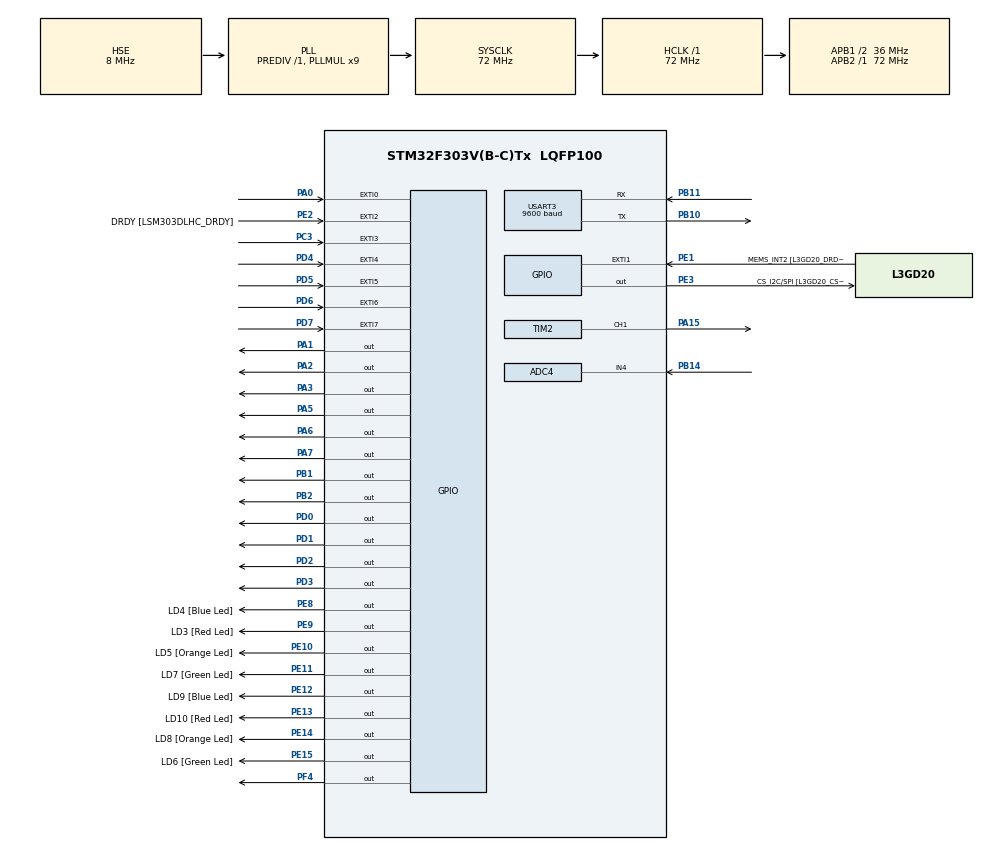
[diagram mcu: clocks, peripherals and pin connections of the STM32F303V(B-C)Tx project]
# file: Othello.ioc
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ADC4.Channel-0\#ChannelRegularConversion=ADC_CHANNEL_4
ADC4.NbrOfConversionFlag=1
ADC4.Offset-0\#ChannelRegularConversion=0
ADC4.OffsetNumber-0\#ChannelRegularConversion=ADC_OFFSET_NONE
ADC4.Rank-0\#ChannelRegularConversion=1
ADC4.SamplingTime-0\#ChannelRegularConversion=ADC_SAMPLETIME_601CYCLES_5
Mcu.Family=STM32F3
Mcu.Name=STM32F303V(B-C)Tx
Mcu.Package=LQFP100
NVIC.ADC4_IRQn=true\:2\:0\:true\:false\:true\:true\:true
NVIC.EXTI0_IRQn=true\:1\:0\:true\:false\:true\:true\:true
NVIC.EXTI3_IRQn=true\:2\:0\:true\:false\:true\:true\:true
NVIC.EXTI4_IRQn=true\:1\:0\:true\:false\:true\:true\:true
NVIC.EXTI9_5_IRQn=true\:2\:0\:true\:false\:true\:true\:true
NVIC.PriorityGroup=NVIC_PRIORITYGROUP_3
NVIC.TIM2_IRQn=true\:1\:0\:true\:false\:true\:true\:true
NVIC.TIM3_IRQn=true\:1\:0\:true\:false\:true\:true\:true
NVIC.TIM4_IRQn=true\:4\:0\:true\:false\:true\:true\:true
NVIC.TIM7_IRQn=true\:3\:0\:true\:false\:true\:true\:true
NVIC.USART3_IRQn=true\:2\:0\:true\:false\:true\:true\:true
PA0.GPIO_ModeDefaultEXTI=GPIO_MODE_IT_RISING_FALLING
PA0.GPIO_PuPd=GPIO_PULLDOWN
PA0.Signal=GPXTI0
PA1.Signal=GPIO_Output
PA11.GPIO_Label=DM
PA11.Signal=USB_DM
PA12.GPIO_Label=DP
PA12.Signal=USB_DP
PA13.GPIO_Label=SWDIO
PA13.Mode=Serial_Wire
PA13.Signal=SYS_JTMS-SWDIO
PA14.GPIO_Label=SWCLK
PA14.Mode=Serial_Wire
PA14.Signal=SYS_JTCK-SWCLK
PA15.Signal=S_TIM2_CH1_ETR
PA2.Signal=GPIO_Output
PA3.Signal=GPIO_Output
PA5.Signal=GPIO_Output
PA6.Signal=GPIO_Output
PA7.Signal=GPIO_Output
PB1.Signal=GPIO_Output
PB10.Mode=Asynchronous
PB10.Signal=USART3_TX
PB11.Mode=Asynchronous
PB11.Signal=USART3_RX
PB14.Mode=IN4-Single-Ended
PB14.Signal=ADC4_IN4
PB2.Signal=GPIO_Output
PB3.GPIO_Label=SWO
PB3.Signal=SYS_JTDO-TRACESWO
PB6.GPIO_Label=I2C1_SCL [LSM303DLHC_SCL]
PB6.GPIO_Pu=GPIO_PULLUP
PB6.Signal=I2C1_SCL
PB7.GPIO_Label=I2C1_SDA [LSM303DLHC_SDA]
PB7.GPIO_Pu=GPIO_PULLUP
PB7.Signal=I2C1_SDA
PC14-OSC32_IN.GPIO_Label=OSC32_IN
PC14-OSC32_IN.Signal=RCC_OSC32_IN
PC15-OSC32_OUT.GPIO_Label=OSC32_OUT
PC15-OSC32_OUT.Signal=RCC_OSC32_OUT
PC3.Signal=GPXTI3
PD0.Signal=GPIO_Output
PD1.Signal=GPIO_Output
PD2.Signal=GPIO_Output
PD3.Signal=GPIO_Output
PD4.GPIO_ModeDefaultEXTI=GPIO_MODE_IT_RISING
PD4.GPIO_PuPd=GPIO_PULLDOWN
PD4.Signal=GPXTI4
PD5.GPIO_ModeDefaultEXTI=GPIO_MODE_IT_RISING
PD5.GPIO_PuPd=GPIO_PULLDOWN
PD5.Signal=GPXTI5
PD6.GPIO_ModeDefaultEXTI=GPIO_MODE_IT_RISING
PD6.GPIO_PuPd=GPIO_PULLDOWN
PD6.Signal=GPXTI6
PD7.GPIO_ModeDefaultEXTI=GPIO_MODE_IT_RISING
PD7.GPIO_PuPd=GPIO_PULLDOWN
PD7.Signal=GPXTI7
PE1.GPIO_Label=MEMS_INT2 [L3GD20_DRDY/INT2]
PE1.GPIO_ModeDefaultEXTI=GPIO_MODE_EVT_RISING
PE1.Signal=GPXTI1
PE10.GPIO_Label=LD5 [Orange Led]
PE10.Signal=GPIO_Output
PE11.GPIO_Label=LD7 [Green Led]
PE11.Signal=GPIO_Output
PE12.GPIO_Label=LD9 [Blue Led]
PE12.Signal=GPIO_Output
PE13.GPIO_Label=LD10 [Red Led]
PE13.Signal=GPIO_Output
PE14.GPIO_Label=LD8 [Orange Led]
PE14.Signal=GPIO_Output
PE15.GPIO_Label=LD6 [Green Led]
PE15.Signal=GPIO_Output
PE2.GPIO_Label=DRDY [LSM303DLHC_DRDY]
PE2.GPIO_ModeDefaultEXTI=GPIO_MODE_EVT_RISING
PE2.Signal=GPXTI2
PE3.GPIO_Label=CS_I2C/SPI [L3GD20_CS_I2C/SPI]
PE3.Signal=GPIO_Output
PE8.GPIO_Label=LD4 [Blue Led]
PE8.Signal=GPIO_Output
PE9.GPIO_Label=LD3 [Red Led]
PE9.Signal=GPIO_Output
PF0-OSC_IN.GPIO_Label=OSC_IN
PF0-OSC_IN.Mode=HSE-External-Clock-Source
PF0-OSC_IN.Signal=RCC_OSC_IN
PF1-OSC_OUT.GPIO_Label=OSC_OUT
PF1-OSC_OUT.Signal=RCC_OSC_OUT
PF4.Signal=GPIO_Output
ProjectManager.HeapSize=0x200
ProjectManager.StackSize=0x400
ProjectManager.TargetToolchain=STM32CubeIDE
RCC.AHBFreq_Value=72000000
RCC.APB1CLKDivider=RCC_HCLK_DIV2
RCC.APB1Freq_Value=36000000
RCC.APB1TimFreq_Value=72000000
RCC.APB2Freq_Value=72000000
RCC.APB2TimFreq_Value=72000000
RCC.CortexFreq_Value=72000000
RCC.HCLKFreq_Value=72000000
RCC.HSE_VALUE=8000000
RCC.HSI_VALUE=8000000
RCC.LSE_VALUE=32768
RCC.PLLMUL=RCC_PLL_MUL9
RCC.PLLSourceVirtual=RCC_PLLSOURCE_HSE
RCC.SYSCLKFreq_VALUE=72000000
RCC.SYSCLKSourceVirtual=RCC_SYSCLKSOURCE_PLLCLK
RCC.USBFreq_Value=72000000
RTC.AsynchPrediv=39
RTC.Format=RTC_FORMAT_BIN
RTC.Hours=18
RTC.Minutes=30
RTC.StoreOperation=RTC_STOREOPERATION_SET
RTC.SynchPrediv=999
SH.S_TIM2_CH1_ETR.0=TIM2_CH1,PWM Generation1 CH1
TIM2.Channel-PWM\ Generation1\ CH1=TIM_CHANNEL_1
TIM2.Period=9999
TIM2.Prescaler=36
TIM3.Period=9999
TIM3.Prescaler=1199
TIM4.Period=9999
TIM4.Prescaler=1199
TIM7.Period=9999
TIM7.Prescaler=719
USART3.BaudRate=9600
USART3.VirtualMode-Asynchronous=VM_ASYNC
VP_RTC_VS_RTC_Activate.Mode=RTC_Enabled
VP_RTC_VS_RTC_Calendar.Mode=RTC_Calendar
VP_TIM1_VS_ClockSourceINT.Mode=Internal
VP_TIM2_VS_ClockSourceINT.Mode=Internal
VP_TIM3_VS_ClockSourceINT.Mode=Internal
VP_TIM4_VS_ClockSourceINT.Mode=Internal
VP_TIM7_VS_ClockSourceINT.Mode=Enable_Timer
board=STM32F3DISCOVERY

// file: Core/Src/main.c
/* USER CODE BEGIN Header */
/**
  ******************************************************************************
  * @file           : main.c
  * @brief          : Main program body
  ******************************************************************************
  * @attention
  *
  * <h2><center>&copy; Copyright (c) 2022 STMicroelectronics.
  * All rights reserved.</center></h2>
  *
  * This software component is licensed by ST under BSD 3-Clause license,
  * the "License"; You may not use this file except in compliance with the
  * License. You may obtain a copy of the License at:
  *                        opensource.org/licenses/BSD-3-Clause
  *
  ******************************************************************************
  */
/* USER CODE END Header */
#include "main.h"

/* USER CODE BEGIN Includes */
#include "LiquidCrystal.h"
#include "string.h"
#include "stdio.h"
#include "othello.h"
#include "utils.h"
/* USER CODE END Includes */

ADC_HandleTypeDef hadc4;

RTC_HandleTypeDef hrtc;

TIM_HandleTypeDef htim1;
TIM_HandleTypeDef htim2;
TIM_HandleTypeDef htim3;
TIM_HandleTypeDef htim4;
TIM_HandleTypeDef htim7;

UART_HandleTypeDef huart3;

/* USER CODE BEGIN PV */
extern uint16_t output_pins[];
extern unsigned char data;
/* USER CODE END PV */

void SystemClock_Config(void);
static void MX_GPIO_Init(void);
static void MX_RTC_Init(void);
static void MX_TIM3_Init(void);
static void MX_TIM4_Init(void);
static void MX_TIM2_Init(void);
static void MX_TIM1_Init(void);
static void MX_TIM7_Init(void);
static void MX_ADC4_Init(void);
static void MX_USART3_UART_Init(void);

int main(void)
{

  /* MCU Configuration--------------------------------------------------------*/

  /* Reset of all peripherals, Initializes the Flash interface and the Systick. */
  HAL_Init();

  /* Configure the system clock */
  SystemClock_Config();

  /* Initialize all configured peripherals */
  MX_GPIO_Init();
  MX_RTC_Init();
  MX_TIM3_Init();
  MX_TIM4_Init();
  MX_TIM2_Init();
  MX_TIM1_Init();
  MX_TIM7_Init();
  MX_ADC4_Init();
  MX_USART3_UART_Init();
  /* USER CODE BEGIN 2 */
  initialize_board();

  for(int j = 0; j < OUTPUTCOUNT; j++) {
    HAL_GPIO_WritePin(GPIOD, output_pins[j], GPIO_PIN_SET);
  }

  LiquidCrystal(GPIOD, GPIO_PIN_8, GPIO_PIN_9, GPIO_PIN_10, GPIO_PIN_11, GPIO_PIN_12, GPIO_PIN_13, GPIO_PIN_14);
  begin(20, 4);
  add_special_chars();

  HAL_ADC_Start_IT(&hadc4);
  HAL_TIM_PWM_Start(&htim2, TIM_CHANNEL_1);
  HAL_TIM_Base_Start_IT(&htim2);
  HAL_TIM_Base_Start_IT(&htim3);
  HAL_TIM_Base_Start_IT(&htim4);
  HAL_TIM_Base_Start_IT(&htim7);
  HAL_UART_Receive_IT(&huart3,&data,sizeof(data));
  /* USER CODE END 2 */

  /* Infinite loop */
  while (1)
  {

  }
}

void SystemClock_Config(void)
{
  RCC_OscInitTypeDef RCC_OscInitStruct = {0};
  RCC_ClkInitTypeDef RCC_ClkInitStruct = {0};
  RCC_PeriphCLKInitTypeDef PeriphClkInit = {0};

  /** Initializes the RCC Oscillators according to the specified parameters
  * in the RCC_OscInitTypeDef structure.
  */
  RCC_OscInitStruct.OscillatorType = RCC_OSCILLATORTYPE_LSI|RCC_OSCILLATORTYPE_HSE;
  RCC_OscInitStruct.HSEState = RCC_HSE_BYPASS;
  RCC_OscInitStruct.HSEPredivValue = RCC_HSE_PREDIV_DIV1;
  RCC_OscInitStruct.HSIState = RCC_HSI_ON;
  RCC_OscInitStruct.LSIState = RCC_LSI_ON;
  RCC_OscInitStruct.PLL.PLLState = RCC_PLL_ON;
  RCC_OscInitStruct.PLL.PLLSource = RCC_PLLSOURCE_HSE;
  RCC_OscInitStruct.PLL.PLLMUL = RCC_PLL_MUL9;
  if (HAL_RCC_OscConfig(&RCC_OscInitStruct) != HAL_OK)
  {
    Error_Handler();
  }
  /** Initializes the CPU, AHB and APB buses clocks
  */
  RCC_ClkInitStruct.ClockType = RCC_CLOCKTYPE_HCLK|RCC_CLOCKTYPE_SYSCLK
                              |RCC_CLOCKTYPE_PCLK1|RCC_CLOCKTYPE_PCLK2;
  RCC_ClkInitStruct.SYSCLKSource = RCC_SYSCLKSOURCE_PLLCLK;
  RCC_ClkInitStruct.AHBCLKDivider = RCC_SYSCLK_DIV1;
  RCC_ClkInitStruct.APB1CLKDivider = RCC_HCLK_DIV2;
  RCC_ClkInitStruct.APB2CLKDivider = RCC_HCLK_DIV1;

  if (HAL_RCC_ClockConfig(&RCC_ClkInitStruct, FLASH_LATENCY_2) != HAL_OK)
  {
    Error_Handler();
  }
  PeriphClkInit.PeriphClockSelection = RCC_PERIPHCLK_USART3|RCC_PERIPHCLK_RTC
                              |RCC_PERIPHCLK_TIM1|RCC_PERIPHCLK_ADC34;
  PeriphClkInit.Usart3ClockSelection = RCC_USART3CLKSOURCE_PCLK1;
  PeriphClkInit.Adc34ClockSelection = RCC_ADC34PLLCLK_DIV1;
  PeriphClkInit.RTCClockSelection = RCC_RTCCLKSOURCE_LSI;
  PeriphClkInit.Tim1ClockSelection = RCC_TIM1CLK_HCLK;
  if (HAL_RCCEx_PeriphCLKConfig(&PeriphClkInit) != HAL_OK)
  {
    Error_Handler();
  }
}

static void MX_ADC4_Init(void)
{

  ADC_ChannelConfTypeDef sConfig = {0};

  /** Common config
  */
  hadc4.Instance = ADC4;
  hadc4.Init.ClockPrescaler = ADC_CLOCK_ASYNC_DIV1;
  hadc4.Init.Resolution = ADC_RESOLUTION_12B;
  hadc4.Init.ScanConvMode = ADC_SCAN_DISABLE;
  hadc4.Init.ContinuousConvMode = DISABLE;
  hadc4.Init.DiscontinuousConvMode = DISABLE;
  hadc4.Init.ExternalTrigConvEdge = ADC_EXTERNALTRIGCONVEDGE_NONE;
  hadc4.Init.ExternalTrigConv = ADC_SOFTWARE_START;
  hadc4.Init.DataAlign = ADC_DATAALIGN_RIGHT;
  hadc4.Init.NbrOfConversion = 1;
  hadc4.Init.DMAContinuousRequests = DISABLE;
  hadc4.Init.EOCSelection = ADC_EOC_SINGLE_CONV;
  hadc4.Init.LowPowerAutoWait = DISABLE;
  hadc4.Init.Overrun = ADC_OVR_DATA_OVERWRITTEN;
  if (HAL_ADC_Init(&hadc4) != HAL_OK)
  {
    Error_Handler();
  }
  /** Configure Regular Channel
  */
  sConfig.Channel = ADC_CHANNEL_4;
  sConfig.Rank = ADC_REGULAR_RANK_1;
  sConfig.SingleDiff = ADC_SINGLE_ENDED;
  sConfig.SamplingTime = ADC_SAMPLETIME_601CYCLES_5;
  sConfig.OffsetNumber = ADC_OFFSET_NONE;
  sConfig.Offset = 0;
  if (HAL_ADC_ConfigChannel(&hadc4, &sConfig) != HAL_OK)
  {
    Error_Handler();
  }

}

static void MX_RTC_Init(void)
{

  RTC_TimeTypeDef sTime = {0};
  RTC_DateTypeDef sDate = {0};

  /** Initialize RTC Only
  */
  hrtc.Instance = RTC;
  hrtc.Init.HourFormat = RTC_HOURFORMAT_24;
  hrtc.Init.AsynchPrediv = 39;
  hrtc.Init.SynchPrediv = 999;
  hrtc.Init.OutPut = RTC_OUTPUT_DISABLE;
  hrtc.Init.OutPutPolarity = RTC_OUTPUT_POLARITY_HIGH;
  hrtc.Init.OutPutType = RTC_OUTPUT_TYPE_OPENDRAIN;
  if (HAL_RTC_Init(&hrtc) != HAL_OK)
  {
    Error_Handler();
  }

  /** Initialize RTC and set the Time and Date
  */
  sTime.Hours = 18;
  sTime.Minutes = 30;
  sTime.Seconds = 0;
  sTime.DayLightSaving = RTC_DAYLIGHTSAVING_NONE;
  sTime.StoreOperation = RTC_STOREOPERATION_SET;
  if (HAL_RTC_SetTime(&hrtc, &sTime, RTC_FORMAT_BIN) != HAL_OK)
  {
    Error_Handler();
  }
  sDate.WeekDay = RTC_WEEKDAY_MONDAY;
  sDate.Month = RTC_MONTH_JANUARY;
  sDate.Date = 1;
  sDate.Year = 0;

  if (HAL_RTC_SetDate(&hrtc, &sDate, RTC_FORMAT_BIN) != HAL_OK)
  {
    Error_Handler();
  }

}

static void MX_TIM1_Init(void)
{

  TIM_ClockConfigTypeDef sClockSourceConfig = {0};
  TIM_MasterConfigTypeDef sMasterConfig = {0};

  htim1.Instance = TIM1;
  htim1.Init.Prescaler = 0;
  htim1.Init.CounterMode = TIM_COUNTERMODE_UP;
  htim1.Init.Period = 65535;
  htim1.Init.ClockDivision = TIM_CLOCKDIVISION_DIV1;
  htim1.Init.RepetitionCounter = 0;
  htim1.Init.AutoReloadPreload = TIM_AUTORELOAD_PRELOAD_DISABLE;
  if (HAL_TIM_Base_Init(&htim1) != HAL_OK)
  {
    Error_Handler();
  }
  sClockSourceConfig.ClockSource = TIM_CLOCKSOURCE_INTERNAL;
  if (HAL_TIM_ConfigClockSource(&htim1, &sClockSourceConfig) != HAL_OK)
  {
    Error_Handler();
  }
  sMasterConfig.MasterOutputTrigger = TIM_TRGO_RESET;
  sMasterConfig.MasterOutputTrigger2 = TIM_TRGO2_RESET;
  sMasterConfig.MasterSlaveMode = TIM_MASTERSLAVEMODE_DISABLE;
  if (HAL_TIMEx_MasterConfigSynchronization(&htim1, &sMasterConfig) != HAL_OK)
  {
    Error_Handler();
  }

}

static void MX_TIM2_Init(void)
{

  TIM_ClockConfigTypeDef sClockSourceConfig = {0};
  TIM_MasterConfigTypeDef sMasterConfig = {0};
  TIM_OC_InitTypeDef sConfigOC = {0};

  htim2.Instance = TIM2;
  htim2.Init.Prescaler = 36;
  htim2.Init.CounterMode = TIM_COUNTERMODE_UP;
  htim2.Init.Period = 9999;
  htim2.Init.ClockDivision = TIM_CLOCKDIVISION_DIV1;
  htim2.Init.AutoReloadPreload = TIM_AUTORELOAD_PRELOAD_DISABLE;
  if (HAL_TIM_Base_Init(&htim2) != HAL_OK)
  {
    Error_Handler();
  }
  sClockSourceConfig.ClockSource = TIM_CLOCKSOURCE_INTERNAL;
  if (HAL_TIM_ConfigClockSource(&htim2, &sClockSourceConfig) != HAL_OK)
  {
    Error_Handler();
  }
  if (HAL_TIM_PWM_Init(&htim2) != HAL_OK)
  {
    Error_Handler();
  }
  sMasterConfig.MasterOutputTrigger = TIM_TRGO_RESET;
  sMasterConfig.MasterSlaveMode = TIM_MASTERSLAVEMODE_DISABLE;
  if (HAL_TIMEx_MasterConfigSynchronization(&htim2, &sMasterConfig) != HAL_OK)
  {
    Error_Handler();
  }
  sConfigOC.OCMode = TIM_OCMODE_PWM1;
  sConfigOC.Pulse = 0;
  sConfigOC.OCPolarity = TIM_OCPOLARITY_HIGH;
  sConfigOC.OCFastMode = TIM_OCFAST_DISABLE;
  if (HAL_TIM_PWM_ConfigChannel(&htim2, &sConfigOC, TIM_CHANNEL_1) != HAL_OK)
  {
    Error_Handler();
  }
  HAL_TIM_MspPostInit(&htim2);

}

static void MX_TIM3_Init(void)
{

  TIM_ClockConfigTypeDef sClockSourceConfig = {0};
  TIM_MasterConfigTypeDef sMasterConfig = {0};

  htim3.Instance = TIM3;
  htim3.Init.Prescaler = 1199;
  htim3.Init.CounterMode = TIM_COUNTERMODE_UP;
  htim3.Init.Period = 9999;
  htim3.Init.ClockDivision = TIM_CLOCKDIVISION_DIV1;
  htim3.Init.AutoReloadPreload = TIM_AUTORELOAD_PRELOAD_DISABLE;
  if (HAL_TIM_Base_Init(&htim3) != HAL_OK)
  {
    Error_Handler();
  }
  sClockSourceConfig.ClockSource = TIM_CLOCKSOURCE_INTERNAL;
  if (HAL_TIM_ConfigClockSource(&htim3, &sClockSourceConfig) != HAL_OK)
  {
    Error_Handler();
  }
  sMasterConfig.MasterOutputTrigger = TIM_TRGO_RESET;
  sMasterConfig.MasterSlaveMode = TIM_MASTERSLAVEMODE_DISABLE;
  if (HAL_TIMEx_MasterConfigSynchronization(&htim3, &sMasterConfig) != HAL_OK)
  {
    Error_Handler();
  }

}

static void MX_TIM4_Init(void)
{

  TIM_ClockConfigTypeDef sClockSourceConfig = {0};
  TIM_MasterConfigTypeDef sMasterConfig = {0};

  htim4.Instance = TIM4;
  htim4.Init.Prescaler = 1199;
  htim4.Init.CounterMode = TIM_COUNTERMODE_UP;
  htim4.Init.Period = 9999;
  htim4.Init.ClockDivision = TIM_CLOCKDIVISION_DIV1;
  htim4.Init.AutoReloadPreload = TIM_AUTORELOAD_PRELOAD_DISABLE;
  if (HAL_TIM_Base_Init(&htim4) != HAL_OK)
  {
    Error_Handler();
  }
  sClockSourceConfig.ClockSource = TIM_CLOCKSOURCE_INTERNAL;
  if (HAL_TIM_ConfigClockSource(&htim4, &sClockSourceConfig) != HAL_OK)
  {
    Error_Handler();
  }
  sMasterConfig.MasterOutputTrigger = TIM_TRGO_RESET;
  sMasterConfig.MasterSlaveMode = TIM_MASTERSLAVEMODE_DISABLE;
  if (HAL_TIMEx_MasterConfigSynchronization(&htim4, &sMasterConfig) != HAL_OK)
  {
    Error_Handler();
  }

}

static void MX_TIM7_Init(void)
{

  TIM_MasterConfigTypeDef sMasterConfig = {0};

  htim7.Instance = TIM7;
  htim7.Init.Prescaler = 719;
  htim7.Init.CounterMode = TIM_COUNTERMODE_UP;
  htim7.Init.Period = 9999;
  htim7.Init.AutoReloadPreload = TIM_AUTORELOAD_PRELOAD_DISABLE;
  if (HAL_TIM_Base_Init(&htim7) != HAL_OK)
  {
    Error_Handler();
  }
  sMasterConfig.MasterOutputTrigger = TIM_TRGO_RESET;
  sMasterConfig.MasterSlaveMode = TIM_MASTERSLAVEMODE_DISABLE;
  if (HAL_TIMEx_MasterConfigSynchronization(&htim7, &sMasterConfig) != HAL_OK)
  {
    Error_Handler();
  }

}

static void MX_USART3_UART_Init(void)
{

  huart3.Instance = USART3;
  huart3.Init.BaudRate = 9600;
  huart3.Init.WordLength = UART_WORDLENGTH_8B;
  huart3.Init.StopBits = UART_STOPBITS_1;
  huart3.Init.Parity = UART_PARITY_NONE;
  huart3.Init.Mode = UART_MODE_TX_RX;
  huart3.Init.HwFlowCtl = UART_HWCONTROL_NONE;
  huart3.Init.OverSampling = UART_OVERSAMPLING_16;
  huart3.Init.OneBitSampling = UART_ONE_BIT_SAMPLE_DISABLE;
  huart3.AdvancedInit.AdvFeatureInit = UART_ADVFEATURE_NO_INIT;
  if (HAL_UART_Init(&huart3) != HAL_OK)
  {
    Error_Handler();
  }

}

static void MX_GPIO_Init(void)
{
  GPIO_InitTypeDef GPIO_InitStruct = {0};

  /* GPIO Ports Clock Enable */
  __HAL_RCC_GPIOE_CLK_ENABLE();
  __HAL_RCC_GPIOC_CLK_ENABLE();
  __HAL_RCC_GPIOF_CLK_ENABLE();
  __HAL_RCC_GPIOA_CLK_ENABLE();
  __HAL_RCC_GPIOB_CLK_ENABLE();
  __HAL_RCC_GPIOD_CLK_ENABLE();

  /*Configure GPIO pin Output Level */
  HAL_GPIO_WritePin(GPIOE, CS_I2C_SPI_Pin|LD4_Pin|LD3_Pin|LD5_Pin
                          |LD7_Pin|LD9_Pin|LD10_Pin|LD8_Pin
                          |LD6_Pin, GPIO_PIN_RESET);

  /*Configure GPIO pin Output Level */
  HAL_GPIO_WritePin(GPIOA, GPIO_PIN_1|GPIO_PIN_2|GPIO_PIN_3|GPIO_PIN_5
                          |GPIO_PIN_6|GPIO_PIN_7, GPIO_PIN_RESET);

  /*Configure GPIO pin Output Level */
  HAL_GPIO_WritePin(GPIOF, GPIO_PIN_4, GPIO_PIN_RESET);

  /*Configure GPIO pin Output Level */
  HAL_GPIO_WritePin(GPIOB, GPIO_PIN_1|GPIO_PIN_2, GPIO_PIN_RESET);

  /*Configure GPIO pin Output Level */
  HAL_GPIO_WritePin(GPIOD, GPIO_PIN_0|GPIO_PIN_1|GPIO_PIN_2|GPIO_PIN_3, GPIO_PIN_RESET);

  /*Configure GPIO pins : DRDY_Pin MEMS_INT2_Pin */
  GPIO_InitStruct.Pin = DRDY_Pin|MEMS_INT2_Pin;
  GPIO_InitStruct.Mode = GPIO_MODE_EVT_RISING;
  GPIO_InitStruct.Pull = GPIO_NOPULL;
  HAL_GPIO_Init(GPIOE, &GPIO_InitStruct);

  /*Configure GPIO pins : CS_I2C_SPI_Pin LD4_Pin LD3_Pin LD5_Pin
                           LD7_Pin LD9_Pin LD10_Pin LD8_Pin
                           LD6_Pin */
  GPIO_InitStruct.Pin = CS_I2C_SPI_Pin|LD4_Pin|LD3_Pin|LD5_Pin
                          |LD7_Pin|LD9_Pin|LD10_Pin|LD8_Pin
                          |LD6_Pin;
  GPIO_InitStruct.Mode = GPIO_MODE_OUTPUT_PP;
  GPIO_InitStruct.Pull = GPIO_NOPULL;
  GPIO_InitStruct.Speed = GPIO_SPEED_FREQ_LOW;
  HAL_GPIO_Init(GPIOE, &GPIO_InitStruct);

  /*Configure GPIO pin : PC3 */
  GPIO_InitStruct.Pin = GPIO_PIN_3;
  GPIO_InitStruct.Mode = GPIO_MODE_IT_RISING;
  GPIO_InitStruct.Pull = GPIO_NOPULL;
  HAL_GPIO_Init(GPIOC, &GPIO_InitStruct);

  /*Configure GPIO pin : PA0 */
  GPIO_InitStruct.Pin = GPIO_PIN_0;
  GPIO_InitStruct.Mode = GPIO_MODE_IT_RISING_FALLING;
  GPIO_InitStruct.Pull = GPIO_PULLDOWN;
  HAL_GPIO_Init(GPIOA, &GPIO_InitStruct);

  /*Configure GPIO pins : PA1 PA2 PA3 PA5
                           PA6 PA7 */
  GPIO_InitStruct.Pin = GPIO_PIN_1|GPIO_PIN_2|GPIO_PIN_3|GPIO_PIN_5
                          |GPIO_PIN_6|GPIO_PIN_7;
  GPIO_InitStruct.Mode = GPIO_MODE_OUTPUT_PP;
  GPIO_InitStruct.Pull = GPIO_NOPULL;
  GPIO_InitStruct.Speed = GPIO_SPEED_FREQ_LOW;
  HAL_GPIO_Init(GPIOA, &GPIO_InitStruct);

  /*Configure GPIO pin : PF4 */
  GPIO_InitStruct.Pin = GPIO_PIN_4;
  GPIO_InitStruct.Mode = GPIO_MODE_OUTPUT_PP;
  GPIO_InitStruct.Pull = GPIO_NOPULL;
  GPIO_InitStruct.Speed = GPIO_SPEED_FREQ_LOW;
  HAL_GPIO_Init(GPIOF, &GPIO_InitStruct);

  /*Configure GPIO pins : PB1 PB2 */
  GPIO_InitStruct.Pin = GPIO_PIN_1|GPIO_PIN_2;
  GPIO_InitStruct.Mode = GPIO_MODE_OUTPUT_PP;
  GPIO_InitStruct.Pull = GPIO_NOPULL;
  GPIO_InitStruct.Speed = GPIO_SPEED_FREQ_LOW;
  HAL_GPIO_Init(GPIOB, &GPIO_InitStruct);

  /*Configure GPIO pins : DM_Pin DP_Pin */
  GPIO_InitStruct.Pin = DM_Pin|DP_Pin;
  GPIO_InitStruct.Mode = GPIO_MODE_AF_PP;
  GPIO_InitStruct.Pull = GPIO_NOPULL;
  GPIO_InitStruct.Speed = GPIO_SPEED_FREQ_HIGH;
  GPIO_InitStruct.Alternate = GPIO_AF14_USB;
  HAL_GPIO_Init(GPIOA, &GPIO_InitStruct);

  /*Configure GPIO pins : PD0 PD1 PD2 PD3 */
  GPIO_InitStruct.Pin = GPIO_PIN_0|GPIO_PIN_1|GPIO_PIN_2|GPIO_PIN_3;
  GPIO_InitStruct.Mode = GPIO_MODE_OUTPUT_PP;
  GPIO_InitStruct.Pull = GPIO_NOPULL;
  GPIO_InitStruct.Speed = GPIO_SPEED_FREQ_LOW;
  HAL_GPIO_Init(GPIOD, &GPIO_InitStruct);

  /*Configure GPIO pins : PD4 PD5 PD6 PD7 */
  GPIO_InitStruct.Pin = GPIO_PIN_4|GPIO_PIN_5|GPIO_PIN_6|GPIO_PIN_7;
  GPIO_InitStruct.Mode = GPIO_MODE_IT_RISING;
  GPIO_InitStruct.Pull = GPIO_PULLDOWN;
  HAL_GPIO_Init(GPIOD, &GPIO_InitStruct);

  /*Configure GPIO pins : I2C1_SCL_Pin I2C1_SDA_Pin */
  GPIO_InitStruct.Pin = I2C1_SCL_Pin|I2C1_SDA_Pin;
  GPIO_InitStruct.Mode = GPIO_MODE_AF_OD;
  GPIO_InitStruct.Pull = GPIO_PULLUP;
  GPIO_InitStruct.Speed = GPIO_SPEED_FREQ_HIGH;
  GPIO_InitStruct.Alternate = GPIO_AF4_I2C1;
  HAL_GPIO_Init(GPIOB, &GPIO_InitStruct);

  /* EXTI interrupt init*/
  HAL_NVIC_SetPriority(EXTI0_IRQn, 1, 0);
  HAL_NVIC_EnableIRQ(EXTI0_IRQn);

  HAL_NVIC_SetPriority(EXTI3_IRQn, 2, 0);
  HAL_NVIC_EnableIRQ(EXTI3_IRQn);

  HAL_NVIC_SetPriority(EXTI4_IRQn, 1, 0);
  HAL_NVIC_EnableIRQ(EXTI4_IRQn);

  HAL_NVIC_SetPriority(EXTI9_5_IRQn, 2, 0);
  HAL_NVIC_EnableIRQ(EXTI9_5_IRQn);

}

void Error_Handler(void)
{
  __disable_irq();
  while (1)
  {
  }
}

/************************ (C) COPYRIGHT STMicroelectronics *****END OF FILE****/
